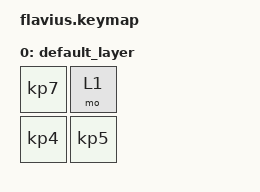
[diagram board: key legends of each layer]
#include <behaviors.dtsi>
#include <dt-bindings/zmk/keys.h>
#include <dt-bindings/zmk/bt.h>

/ {  
    keymap {
        compatible = "zmk,keymap";

        default_layer {
            bindings = <
                &kp KP_N7     &mo 1
                &kp KP_N4     &kp KP_N5
            >;
        }; 
        
        bt_layer {
            bindings = <
                &bootloader  &bt BT_CLR 
                &bt BT_SEL 0 &bt BT_SEL 1
        };
    };
};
